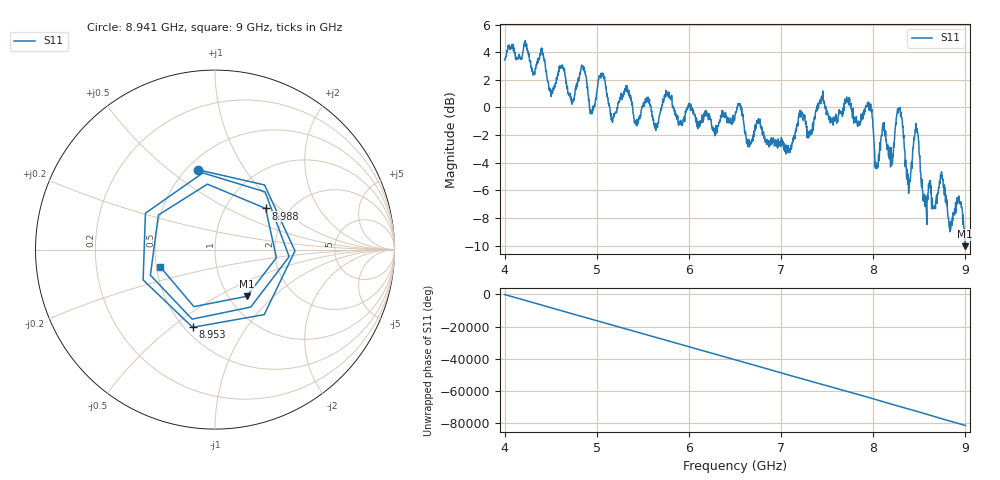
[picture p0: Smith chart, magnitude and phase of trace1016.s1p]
! Created with skrf 1.8.0 (http://scikit-rf.org).
# Hz S RI R 50.0
!freq ReS11 ImS11
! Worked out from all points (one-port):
!   1601 points, 4 GHz to 9 GHz, reference 50 ohm
!   lowest |S11| = -10.0 dB at 8.994 GHz (marker M1), VSWR 1.92, Z = 60.4 - j34.9 ohm
!   |S11| at or under -10 dB: 8.993832 GHz to 8.994211 GHz (379.2 kHz wide, 0.00422 % of centre)
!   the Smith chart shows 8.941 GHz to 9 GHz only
!   S11 on the Smith chart (normalised r, x): 8.941 GHz: 0.57, +0.64; 8.953 GHz: 0.55, -0.60; 8.988 GHz: 1.53, +0.81; 9 GHz: 0.52, -0.11
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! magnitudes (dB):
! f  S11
! 4 GHz  3.4
! 4.406 GHz  4.2
! 4.506 GHz  0.8
! 4.625 GHz  3.0
! 4.731 GHz  0.2
! 4.847 GHz  3.0
! 4.944 GHz  -0.4
! 5.047 GHz  2.5
! 5.162 GHz  -0.8
! 5.25 GHz  0.5
! 5.875 GHz  -0.8
! 6.5 GHz  -0.6
! 7.125 GHz  -2.6
! 7.434 GHz  0.7
! 7.75 GHz  0.2
! 7.959 GHz  0.2
! 8.041 GHz  -4.3
! 8.109 GHz  -1.1
! 8.2 GHz  -3.7
! 8.288 GHz  0.0
! 8.375 GHz  -4.8
! 8.466 GHz  -1.5
! 8.559 GHz  -7.1
! 8.941 GHz  -6.8
! 8.953 GHz  -6.9
! 8.988 GHz  -8.8
! 8.994 GHz  -10.0
! 9 GHz  -9.9
